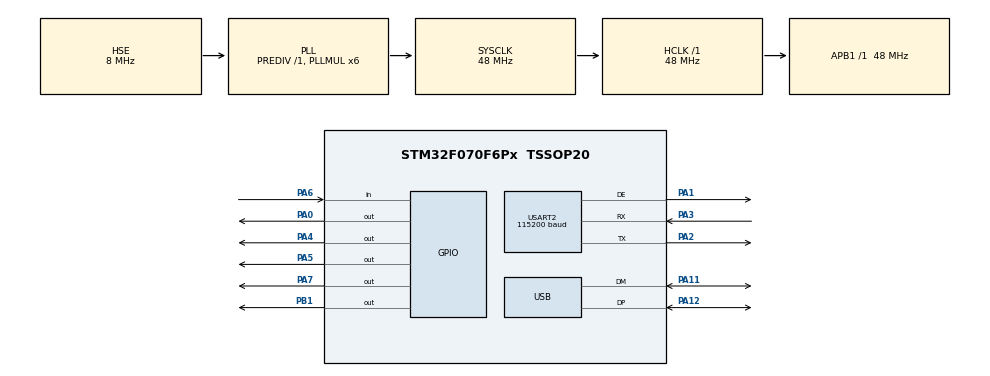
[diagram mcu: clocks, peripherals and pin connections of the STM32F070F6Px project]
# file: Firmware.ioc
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Dma.Request0=USART2_RX
Dma.Request1=USART2_TX
Dma.USART2_RX.0.Direction=DMA_PERIPH_TO_MEMORY
Dma.USART2_RX.0.Instance=DMA1_Channel5
Dma.USART2_RX.0.MemDataAlignment=DMA_MDATAALIGN_BYTE
Dma.USART2_RX.0.MemInc=DMA_MINC_ENABLE
Dma.USART2_RX.0.Mode=DMA_CIRCULAR
Dma.USART2_RX.0.PeriphDataAlignment=DMA_PDATAALIGN_BYTE
Dma.USART2_RX.0.PeriphInc=DMA_PINC_DISABLE
Dma.USART2_RX.0.Priority=DMA_PRIORITY_HIGH
Dma.USART2_TX.1.Direction=DMA_MEMORY_TO_PERIPH
Dma.USART2_TX.1.Instance=DMA1_Channel4
Dma.USART2_TX.1.MemDataAlignment=DMA_MDATAALIGN_BYTE
Dma.USART2_TX.1.MemInc=DMA_MINC_ENABLE
Dma.USART2_TX.1.Mode=DMA_NORMAL
Dma.USART2_TX.1.PeriphDataAlignment=DMA_PDATAALIGN_BYTE
Dma.USART2_TX.1.PeriphInc=DMA_PINC_DISABLE
Dma.USART2_TX.1.Priority=DMA_PRIORITY_HIGH
Mcu.Family=STM32F0
Mcu.Name=STM32F070F6Px
Mcu.Package=TSSOP20
NVIC.DMA1_Channel4_5_IRQn=true\:0\:0\:false\:false\:true\:false\:true\:true
NVIC.USART2_IRQn=true\:0\:0\:false\:false\:true\:true\:true\:true
NVIC.USB_IRQn=true\:0\:0\:false\:false\:true\:false\:true\:true
PA0.PinState=GPIO_PIN_SET
PA0.Signal=GPIO_Output
PA1.Mode=Hardware Flow Control (RS485)
PA1.Signal=USART2_DE
PA11.Mode=Device
PA11.Signal=USB_DM
PA12.Mode=Device
PA12.Signal=USB_DP
PA13.Mode=Serial_Wire
PA13.Signal=SYS_SWDIO
PA14.Mode=Serial_Wire
PA14.Signal=SYS_SWCLK
PA2.Mode=Asynchronous
PA2.Signal=USART2_TX
PA3.Mode=Asynchronous
PA3.Signal=USART2_RX
PA4.PinState=GPIO_PIN_SET
PA4.Signal=GPIO_Output
PA5.Signal=GPIO_Output
PA6.Signal=GPIO_Input
PA7.PinState=GPIO_PIN_SET
PA7.Signal=GPIO_Output
PB1.PinState=GPIO_PIN_SET
PB1.Signal=GPIO_Output
PF0-OSC_IN.Mode=HSE-External-Oscillator
PF0-OSC_IN.Signal=RCC_OSC_IN
PF1-OSC_OUT.Mode=HSE-External-Oscillator
PF1-OSC_OUT.Signal=RCC_OSC_OUT
ProjectManager.HeapSize=0x100
ProjectManager.StackSize=0x200
ProjectManager.TargetToolchain=Makefile
RCC.AHBFreq_Value=48000000
RCC.APB1Freq_Value=48000000
RCC.APB1TimFreq_Value=48000000
RCC.HCLKFreq_Value=48000000
RCC.PLLMUL=RCC_PLL_MUL6
RCC.SYSCLKFreq_VALUE=48000000
RCC.SYSCLKSource=RCC_SYSCLKSOURCE_PLLCLK
USART2.BaudRate=115200
USART2.DMADisableonRxErrorParam=ADVFEATURE_DMA_DISABLEONRXERROR
USART2.OverSampling=UART_OVERSAMPLING_8
USART2.UART_DEAssertionTime=10
USART2.UART_DEDeassertionTime=10
USART2.VirtualMode-Asynchronous=VM_ASYNC
USART2.VirtualMode-Hardware\ Flow\ Control\ (RS485)=VM_ASYNC
USB_DEVICE.APP_RX_DATA_SIZE=256
USB_DEVICE.APP_TX_DATA_SIZE=256
USB_DEVICE.CLASS_NAME_FS=CDC
USB_DEVICE.MANUFACTURER_STRING=A_D Electronics
USB_DEVICE.PID_CDC_FS=0x5740
USB_DEVICE.PRODUCT_STRING_CDC_FS=VCP
USB_DEVICE.USBD_SELF_POWERED=0
USB_DEVICE.VID=0x483
USB_DEVICE.VirtualMode=Cdc
USB_DEVICE.VirtualModeFS=Cdc_FS
VP_SYS_VS_PINREMAP.Mode=PINREMAP
VP_USB_DEVICE_VS_USB_DEVICE_CDC_FS.Mode=CDC_FS
board=custom

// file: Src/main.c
/* USER CODE BEGIN Header */

/* USER CODE END Header */
#include "main.h"
#include "usb_device.h"

/* USER CODE BEGIN Includes */
#include "usbd_cdc_if.h"
/* USER CODE END Includes */

void SystemClock_Config(void);
static void MX_GPIO_Init(void);
static void MX_DMA_Init(void);
static void MX_USART2_UART_Init(void);

/* USER CODE BEGIN 0 */
#define INTERFACE_RS232_ENABLE                  1

typedef enum
{
   INTRF_USART = 0,
   INTRF_RS485,
   INTRF_RS422,
#if(INTERFACE_RS232_ENABLE)
   INTRF_RS232
#endif
} interface_t;

static interface_t current_int = INTRF_USART;
//static uint8_t buf_tx[UART_BUF_LEN];
static uint8_t buf_rx[UART_BUF_LEN];

void NewDataReceived()
{
   uint32_t position_dma = LL_DMA_GetDataLength(DMA1, LL_DMA_CHANNEL_5);
   uint32_t data_len = UART_BUF_LEN - position_dma;

   if (data_len > 0 && data_len < UART_BUF_LEN)
   {
      LL_GPIO_SetOutputPin(GPIOA, LL_GPIO_PIN_5);
      CDC_Transmit_FS(&buf_rx[0], data_len);
   }

   LL_DMA_DisableChannel(DMA1, LL_DMA_CHANNEL_5);
   LL_DMA_SetDataLength(DMA1, LL_DMA_CHANNEL_5, UART_BUF_LEN);
   LL_DMA_EnableChannel(DMA1, LL_DMA_CHANNEL_5);
}

void NewDataTransmit(uint8_t *data, uint32_t len)
{
   LL_DMA_SetMemoryAddress(DMA1, LL_DMA_CHANNEL_4, (uint32_t)data);
   LL_DMA_SetDataLength(DMA1, LL_DMA_CHANNEL_4, len);
   LL_DMA_EnableChannel(DMA1, LL_DMA_CHANNEL_4);
}

void SetInterface(interface_t i)
{
   switch (i)
   {
      case INTRF_RS485:
         LL_GPIO_SetOutputPin(GPIOA, GPIO_PIN_0);
         LL_GPIO_SetOutputPin(GPIOA, GPIO_PIN_7);
         LL_GPIO_SetOutputPin(GPIOB, GPIO_PIN_1);
         LL_GPIO_ResetOutputPin(GPIOA, GPIO_PIN_4);
         LL_GPIO_SetPinMode(GPIOA, GPIO_PIN_1, LL_GPIO_MODE_ALTERNATE);
         break;

      case INTRF_RS422:
         LL_GPIO_SetOutputPin(GPIOA, GPIO_PIN_4);
         LL_GPIO_SetOutputPin(GPIOA, GPIO_PIN_7);
         LL_GPIO_SetOutputPin(GPIOB, GPIO_PIN_1);
         LL_GPIO_ResetOutputPin(GPIOA, GPIO_PIN_0);
         LL_GPIO_SetPinMode(GPIOA, GPIO_PIN_1, LL_GPIO_MODE_OUTPUT);
         LL_GPIO_ResetOutputPin(GPIOA, GPIO_PIN_1);
         break;

#if(INTERFACE_RS232_ENABLE)
      case INTRF_RS232:
         LL_GPIO_SetOutputPin(GPIOA, GPIO_PIN_0);
         LL_GPIO_SetOutputPin(GPIOA, GPIO_PIN_4);
         LL_GPIO_SetOutputPin(GPIOA, GPIO_PIN_7);
         LL_GPIO_ResetOutputPin(GPIOB, GPIO_PIN_1);
         LL_GPIO_SetPinMode(GPIOA, GPIO_PIN_1, LL_GPIO_MODE_OUTPUT);
         LL_GPIO_ResetOutputPin(GPIOA, GPIO_PIN_1);
         break;
#endif

      default: // INTRF_USART
         LL_GPIO_SetOutputPin(GPIOA, GPIO_PIN_0);
         LL_GPIO_SetOutputPin(GPIOA, GPIO_PIN_4);
         LL_GPIO_SetOutputPin(GPIOB, GPIO_PIN_1);
         LL_GPIO_ResetOutputPin(GPIOA, GPIO_PIN_7);
         LL_GPIO_SetPinMode(GPIOA, GPIO_PIN_1, LL_GPIO_MODE_OUTPUT);
         LL_GPIO_ResetOutputPin(GPIOA, GPIO_PIN_1);
         break;
   }
}

/* USER CODE END 0 */

int main(void)
{

  /* MCU Configuration--------------------------------------------------------*/

  /* Reset of all peripherals, Initializes the Flash interface and the Systick. */
  HAL_Init();

  /* Configure the system clock */
  SystemClock_Config();

  /* Initialize all configured peripherals */
  MX_GPIO_Init();
  MX_DMA_Init();
  MX_USART2_UART_Init();
  MX_USB_DEVICE_Init();
  /* USER CODE BEGIN 2 */
   SetInterface(current_int);

   // RX
   LL_DMA_ConfigAddresses(DMA1, LL_DMA_CHANNEL_5, (uint32_t)&(USART2->RDR), (uint32_t)&buf_rx, LL_DMA_DIRECTION_PERIPH_TO_MEMORY);
   LL_DMA_SetDataLength(DMA1, LL_DMA_CHANNEL_5, UART_BUF_LEN);
   LL_DMA_EnableChannel(DMA1, LL_DMA_CHANNEL_5);

   // TX
   LL_DMA_SetPeriphAddress(DMA1, LL_DMA_CHANNEL_4, (uint32_t)&USART2->TDR);
   LL_DMA_EnableIT_TC(DMA1, LL_DMA_CHANNEL_4);
   //LL_DMA_EnableChannel(DMA1, LL_DMA_CHANNEL_4);

   LL_USART_EnableDMAReq_RX(USART2);
   LL_USART_EnableDMAReq_TX(USART2);
   LL_USART_EnableIT_IDLE(USART2);
   LL_USART_Enable(USART2);
  /* USER CODE END 2 */

  /* Infinite loop */
  /* USER CODE BEGIN WHILE */
   for (;;)
   {
      if (LL_GPIO_IsInputPinSet(GPIOA, GPIO_PIN_6) == 0x00)
      {
         uint32_t count = 0;
         while (LL_GPIO_IsInputPinSet(GPIOA, GPIO_PIN_6) == 0x00)
         {
            HAL_Delay(1);
            count += 1;
         }

         if (count > 50)
         {
            current_int += 1;
#if(INTERFACE_RS232_ENABLE)
            if (current_int > INTRF_RS232)
#else
            if (current_int > INTRF_RS422)
#endif
            {
               current_int = INTRF_USART;
            }

            SetInterface(current_int);
            HAL_Delay(200);
         }
      }

      if (LL_GPIO_IsOutputPinSet(GPIOA, GPIO_PIN_5))
      {
         HAL_Delay(20);
         LL_GPIO_ResetOutputPin(GPIOA, GPIO_PIN_5);
      }
    /* USER CODE END WHILE */

   }
}

void SystemClock_Config(void)
{
  RCC_OscInitTypeDef RCC_OscInitStruct = {0};
  RCC_ClkInitTypeDef RCC_ClkInitStruct = {0};
  RCC_PeriphCLKInitTypeDef PeriphClkInit = {0};

  /** Initializes the RCC Oscillators according to the specified parameters
  * in the RCC_OscInitTypeDef structure.
  */
  RCC_OscInitStruct.OscillatorType = RCC_OSCILLATORTYPE_HSE;
  RCC_OscInitStruct.HSEState = RCC_HSE_ON;
  RCC_OscInitStruct.PLL.PLLState = RCC_PLL_ON;
  RCC_OscInitStruct.PLL.PLLSource = RCC_PLLSOURCE_HSE;
  RCC_OscInitStruct.PLL.PLLMUL = RCC_PLL_MUL6;
  RCC_OscInitStruct.PLL.PREDIV = RCC_PREDIV_DIV1;
  if (HAL_RCC_OscConfig(&RCC_OscInitStruct) != HAL_OK)
  {
    Error_Handler();
  }

  /** Initializes the CPU, AHB and APB buses clocks
  */
  RCC_ClkInitStruct.ClockType = RCC_CLOCKTYPE_HCLK|RCC_CLOCKTYPE_SYSCLK
                              |RCC_CLOCKTYPE_PCLK1;
  RCC_ClkInitStruct.SYSCLKSource = RCC_SYSCLKSOURCE_PLLCLK;
  RCC_ClkInitStruct.AHBCLKDivider = RCC_SYSCLK_DIV1;
  RCC_ClkInitStruct.APB1CLKDivider = RCC_HCLK_DIV1;

  if (HAL_RCC_ClockConfig(&RCC_ClkInitStruct, FLASH_LATENCY_1) != HAL_OK)
  {
    Error_Handler();
  }
  PeriphClkInit.PeriphClockSelection = RCC_PERIPHCLK_USB;
  PeriphClkInit.UsbClockSelection = RCC_USBCLKSOURCE_PLL;

  if (HAL_RCCEx_PeriphCLKConfig(&PeriphClkInit) != HAL_OK)
  {
    Error_Handler();
  }
}

static void MX_USART2_UART_Init(void)
{

  LL_USART_InitTypeDef USART_InitStruct = {0};

  LL_GPIO_InitTypeDef GPIO_InitStruct = {0};

  /* Peripheral clock enable */
  LL_APB1_GRP1_EnableClock(LL_APB1_GRP1_PERIPH_USART2);

  LL_AHB1_GRP1_EnableClock(LL_AHB1_GRP1_PERIPH_GPIOA);
  /**USART2 GPIO Configuration
  PA1   ------> USART2_DE
  PA2   ------> USART2_TX
  PA3   ------> USART2_RX
  */
  GPIO_InitStruct.Pin = LL_GPIO_PIN_1;
  GPIO_InitStruct.Mode = LL_GPIO_MODE_ALTERNATE;
  GPIO_InitStruct.Speed = LL_GPIO_SPEED_FREQ_HIGH;
  GPIO_InitStruct.OutputType = LL_GPIO_OUTPUT_PUSHPULL;
  GPIO_InitStruct.Pull = LL_GPIO_PULL_NO;
  GPIO_InitStruct.Alternate = LL_GPIO_AF_1;
  LL_GPIO_Init(GPIOA, &GPIO_InitStruct);

  GPIO_InitStruct.Pin = LL_GPIO_PIN_2;
  GPIO_InitStruct.Mode = LL_GPIO_MODE_ALTERNATE;
  GPIO_InitStruct.Speed = LL_GPIO_SPEED_FREQ_HIGH;
  GPIO_InitStruct.OutputType = LL_GPIO_OUTPUT_PUSHPULL;
  GPIO_InitStruct.Pull = LL_GPIO_PULL_NO;
  GPIO_InitStruct.Alternate = LL_GPIO_AF_1;
  LL_GPIO_Init(GPIOA, &GPIO_InitStruct);

  GPIO_InitStruct.Pin = LL_GPIO_PIN_3;
  GPIO_InitStruct.Mode = LL_GPIO_MODE_ALTERNATE;
  GPIO_InitStruct.Speed = LL_GPIO_SPEED_FREQ_HIGH;
  GPIO_InitStruct.OutputType = LL_GPIO_OUTPUT_PUSHPULL;
  GPIO_InitStruct.Pull = LL_GPIO_PULL_NO;
  GPIO_InitStruct.Alternate = LL_GPIO_AF_1;
  LL_GPIO_Init(GPIOA, &GPIO_InitStruct);

  /* USART2 DMA Init */

  /* USART2_RX Init */
  LL_DMA_SetDataTransferDirection(DMA1, LL_DMA_CHANNEL_5, LL_DMA_DIRECTION_PERIPH_TO_MEMORY);

  LL_DMA_SetChannelPriorityLevel(DMA1, LL_DMA_CHANNEL_5, LL_DMA_PRIORITY_HIGH);

  LL_DMA_SetMode(DMA1, LL_DMA_CHANNEL_5, LL_DMA_MODE_NORMAL);

  LL_DMA_SetPeriphIncMode(DMA1, LL_DMA_CHANNEL_5, LL_DMA_PERIPH_NOINCREMENT);

  LL_DMA_SetMemoryIncMode(DMA1, LL_DMA_CHANNEL_5, LL_DMA_MEMORY_INCREMENT);

  LL_DMA_SetPeriphSize(DMA1, LL_DMA_CHANNEL_5, LL_DMA_PDATAALIGN_BYTE);

  LL_DMA_SetMemorySize(DMA1, LL_DMA_CHANNEL_5, LL_DMA_MDATAALIGN_BYTE);

  /* USART2_TX Init */
  LL_DMA_SetDataTransferDirection(DMA1, LL_DMA_CHANNEL_4, LL_DMA_DIRECTION_MEMORY_TO_PERIPH);

  LL_DMA_SetChannelPriorityLevel(DMA1, LL_DMA_CHANNEL_4, LL_DMA_PRIORITY_HIGH);

  LL_DMA_SetMode(DMA1, LL_DMA_CHANNEL_4, LL_DMA_MODE_NORMAL);

  LL_DMA_SetPeriphIncMode(DMA1, LL_DMA_CHANNEL_4, LL_DMA_PERIPH_NOINCREMENT);

  LL_DMA_SetMemoryIncMode(DMA1, LL_DMA_CHANNEL_4, LL_DMA_MEMORY_INCREMENT);

  LL_DMA_SetPeriphSize(DMA1, LL_DMA_CHANNEL_4, LL_DMA_PDATAALIGN_BYTE);

  LL_DMA_SetMemorySize(DMA1, LL_DMA_CHANNEL_4, LL_DMA_MDATAALIGN_BYTE);

  /* USART2 interrupt Init */
  NVIC_SetPriority(USART2_IRQn, 0);
  NVIC_EnableIRQ(USART2_IRQn);

  USART_InitStruct.BaudRate = 115200;
  USART_InitStruct.DataWidth = LL_USART_DATAWIDTH_8B;
  USART_InitStruct.StopBits = LL_USART_STOPBITS_1;
  USART_InitStruct.Parity = LL_USART_PARITY_NONE;
  USART_InitStruct.TransferDirection = LL_USART_DIRECTION_TX_RX;
  USART_InitStruct.HardwareFlowControl = LL_USART_HWCONTROL_NONE;
  USART_InitStruct.OverSampling = LL_USART_OVERSAMPLING_8;
  LL_USART_Init(USART2, &USART_InitStruct);
  LL_USART_EnableDEMode(USART2);
  LL_USART_SetDESignalPolarity(USART2, LL_USART_DE_POLARITY_HIGH);
  LL_USART_SetDEAssertionTime(USART2, 10);
  LL_USART_SetDEDeassertionTime(USART2, 10);
  LL_USART_DisableDMADeactOnRxErr(USART2);
  LL_USART_ConfigAsyncMode(USART2);
  LL_USART_Enable(USART2);
  /* USER CODE BEGIN USART2_Init 2 */
   LL_USART_Disable(USART2);
  /* USER CODE END USART2_Init 2 */

}

static void MX_DMA_Init(void)
{

  /* Init with LL driver */
  /* DMA controller clock enable */
  LL_AHB1_GRP1_EnableClock(LL_AHB1_GRP1_PERIPH_DMA1);

  /* DMA interrupt init */
  /* DMA1_Channel4_5_IRQn interrupt configuration */
  NVIC_SetPriority(DMA1_Channel4_5_IRQn, 0);
  NVIC_EnableIRQ(DMA1_Channel4_5_IRQn);

}

static void MX_GPIO_Init(void)
{
  LL_GPIO_InitTypeDef GPIO_InitStruct = {0};

  /* GPIO Ports Clock Enable */
  LL_AHB1_GRP1_EnableClock(LL_AHB1_GRP1_PERIPH_GPIOF);
  LL_AHB1_GRP1_EnableClock(LL_AHB1_GRP1_PERIPH_GPIOA);
  LL_AHB1_GRP1_EnableClock(LL_AHB1_GRP1_PERIPH_GPIOB);

  /**/
  LL_GPIO_SetOutputPin(GPIOA, LL_GPIO_PIN_0);

  /**/
  LL_GPIO_SetOutputPin(GPIOA, LL_GPIO_PIN_4);

  /**/
  LL_GPIO_SetOutputPin(GPIOA, LL_GPIO_PIN_7);

  /**/
  LL_GPIO_SetOutputPin(GPIOB, LL_GPIO_PIN_1);

  /**/
  LL_GPIO_ResetOutputPin(GPIOA, LL_GPIO_PIN_5);

  /**/
  GPIO_InitStruct.Pin = LL_GPIO_PIN_0;
  GPIO_InitStruct.Mode = LL_GPIO_MODE_OUTPUT;
  GPIO_InitStruct.Speed = LL_GPIO_SPEED_FREQ_LOW;
  GPIO_InitStruct.OutputType = LL_GPIO_OUTPUT_PUSHPULL;
  GPIO_InitStruct.Pull = LL_GPIO_PULL_NO;
  LL_GPIO_Init(GPIOA, &GPIO_InitStruct);

  /**/
  GPIO_InitStruct.Pin = LL_GPIO_PIN_4;
  GPIO_InitStruct.Mode = LL_GPIO_MODE_OUTPUT;
  GPIO_InitStruct.Speed = LL_GPIO_SPEED_FREQ_LOW;
  GPIO_InitStruct.OutputType = LL_GPIO_OUTPUT_PUSHPULL;
  GPIO_InitStruct.Pull = LL_GPIO_PULL_NO;
  LL_GPIO_Init(GPIOA, &GPIO_InitStruct);

  /**/
  GPIO_InitStruct.Pin = LL_GPIO_PIN_5;
  GPIO_InitStruct.Mode = LL_GPIO_MODE_OUTPUT;
  GPIO_InitStruct.Speed = LL_GPIO_SPEED_FREQ_LOW;
  GPIO_InitStruct.OutputType = LL_GPIO_OUTPUT_PUSHPULL;
  GPIO_InitStruct.Pull = LL_GPIO_PULL_NO;
  LL_GPIO_Init(GPIOA, &GPIO_InitStruct);

  /**/
  GPIO_InitStruct.Pin = LL_GPIO_PIN_6;
  GPIO_InitStruct.Mode = LL_GPIO_MODE_INPUT;
  GPIO_InitStruct.Pull = LL_GPIO_PULL_NO;
  LL_GPIO_Init(GPIOA, &GPIO_InitStruct);

  /**/
  GPIO_InitStruct.Pin = LL_GPIO_PIN_7;
  GPIO_InitStruct.Mode = LL_GPIO_MODE_OUTPUT;
  GPIO_InitStruct.Speed = LL_GPIO_SPEED_FREQ_LOW;
  GPIO_InitStruct.OutputType = LL_GPIO_OUTPUT_PUSHPULL;
  GPIO_InitStruct.Pull = LL_GPIO_PULL_NO;
  LL_GPIO_Init(GPIOA, &GPIO_InitStruct);

  /**/
  GPIO_InitStruct.Pin = LL_GPIO_PIN_1;
  GPIO_InitStruct.Mode = LL_GPIO_MODE_OUTPUT;
  GPIO_InitStruct.Speed = LL_GPIO_SPEED_FREQ_LOW;
  GPIO_InitStruct.OutputType = LL_GPIO_OUTPUT_PUSHPULL;
  GPIO_InitStruct.Pull = LL_GPIO_PULL_NO;
  LL_GPIO_Init(GPIOB, &GPIO_InitStruct);

}

void Error_Handler(void)
{
  __disable_irq();
  while (1)
  {
  }
}
